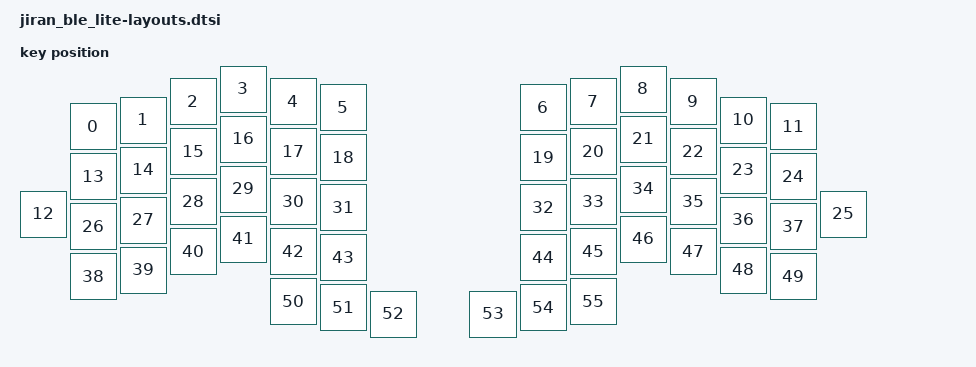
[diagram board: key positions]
#include <physical_layouts.dtsi>

/ {
    ladniy_jiran_full_layout: ladniy_jiran_full_layout {
        compatible = "zmk,physical-layout";
        display-name = "Full (with pinky/numbers)";

        keys  //                     w   h    x    y     rot    rx    ry
            = <&key_physical_attrs 100 100  100   75       0     0     0>
            , <&key_physical_attrs 100 100  200   62       0     0     0>
            , <&key_physical_attrs 100 100  300   25       0     0     0>
            , <&key_physical_attrs 100 100  400    0       0     0     0>
            , <&key_physical_attrs 100 100  500   25       0     0     0>
            , <&key_physical_attrs 100 100  600   37       0     0     0>
            , <&key_physical_attrs 100 100 1000   37       0     0     0>
            , <&key_physical_attrs 100 100 1100   25       0     0     0>
            , <&key_physical_attrs 100 100 1200    0       0     0     0>
            , <&key_physical_attrs 100 100 1300   25       0     0     0>
            , <&key_physical_attrs 100 100 1400   62       0     0     0>
            , <&key_physical_attrs 100 100 1500   75       0     0     0>
            , <&key_physical_attrs 100 100    0  250       0     0     0>
            , <&key_physical_attrs 100 100  100  175       0     0     0>
            , <&key_physical_attrs 100 100  200  162       0     0     0>
            , <&key_physical_attrs 100 100  300  125       0     0     0>
            , <&key_physical_attrs 100 100  400  100       0     0     0>
            , <&key_physical_attrs 100 100  500  125       0     0     0>
            , <&key_physical_attrs 100 100  600  137       0     0     0>
            , <&key_physical_attrs 100 100 1000  137       0     0     0>
            , <&key_physical_attrs 100 100 1100  125       0     0     0>
            , <&key_physical_attrs 100 100 1200  100       0     0     0>
            , <&key_physical_attrs 100 100 1300  125       0     0     0>
            , <&key_physical_attrs 100 100 1400  162       0     0     0>
            , <&key_physical_attrs 100 100 1500  175       0     0     0>
            , <&key_physical_attrs 100 100 1600  250       0     0     0>
            , <&key_physical_attrs 100 100  100  275       0     0     0>
            , <&key_physical_attrs 100 100  200  262       0     0     0>
            , <&key_physical_attrs 100 100  300  225       0     0     0>
            , <&key_physical_attrs 100 100  400  200       0     0     0>
            , <&key_physical_attrs 100 100  500  225       0     0     0>
            , <&key_physical_attrs 100 100  600  237       0     0     0>
            , <&key_physical_attrs 100 100 1000  237       0     0     0>
            , <&key_physical_attrs 100 100 1100  225       0     0     0>
            , <&key_physical_attrs 100 100 1200  200       0     0     0>
            , <&key_physical_attrs 100 100 1300  225       0     0     0>
            , <&key_physical_attrs 100 100 1400  262       0     0     0>
            , <&key_physical_attrs 100 100 1500  275       0     0     0>
            , <&key_physical_attrs 100 100  100  375       0     0     0>
            , <&key_physical_attrs 100 100  200  362       0     0     0>
            , <&key_physical_attrs 100 100  300  325       0     0     0>
            , <&key_physical_attrs 100 100  400  300       0     0     0>
            , <&key_physical_attrs 100 100  500  325       0     0     0>
            , <&key_physical_attrs 100 100  600  337       0     0     0>
            , <&key_physical_attrs 100 100 1000  337       0     0     0>
            , <&key_physical_attrs 100 100 1100  325       0     0     0>
            , <&key_physical_attrs 100 100 1200  300       0     0     0>
            , <&key_physical_attrs 100 100 1300  325       0     0     0>
            , <&key_physical_attrs 100 100 1400  362       0     0     0>
            , <&key_physical_attrs 100 100 1500  375       0     0     0>
            , <&key_physical_attrs 100 100  500  425       0     0     0>
            , <&key_physical_attrs 100 100  600  437       0     0     0>
            , <&key_physical_attrs 100 100  700  450       0     0     0>
            , <&key_physical_attrs 100 100  900  450       0     0     0>
            , <&key_physical_attrs 100 100 1000  437       0     0     0>
            , <&key_physical_attrs 100 100 1100  425       0     0     0>
        ;
    };
};
